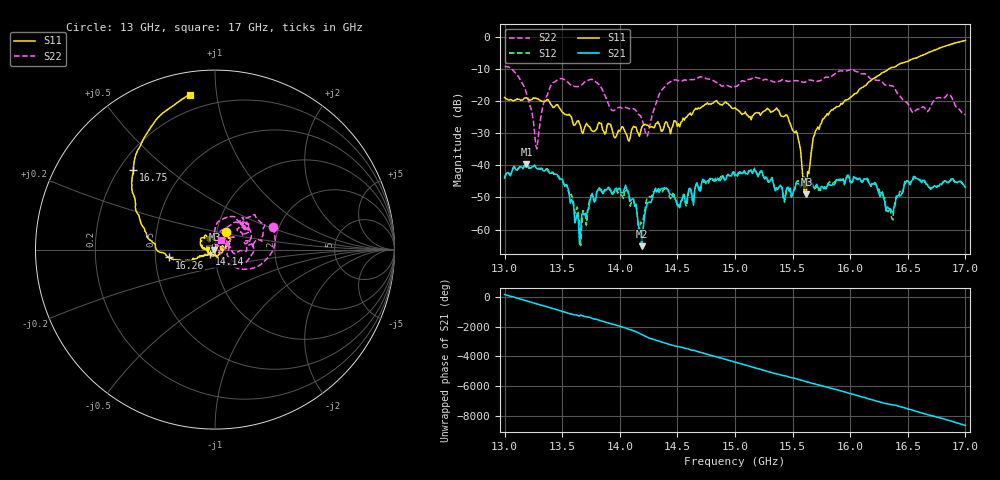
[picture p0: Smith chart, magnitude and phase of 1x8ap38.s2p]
!Keysight Technologies,P9374A,MY57211807,A.19.30.04
!Date: Friday, May 08, 2026 14:36:41
!Correction: S11(C  2-Port  )
!S21(C  2-Port  )
!S12(C  2-Port  )
!S22(C  2-Port  )
!S2P File: Measurements: S11, S21, S12, S22:
# Hz S  dB  R 50
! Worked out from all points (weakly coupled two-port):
!   401 points, 13 GHz to 17 GHz, reference 50 ohm
!   highest |S21| = -39.71 dB at 13.19 GHz (marker M1); lowest = -65.2 dB at 14.19 GHz (marker M2)
!   lowest |S11| = -49.0 dB at 15.62 GHz (marker M3), VSWR 1.01, Z = 49.7 - j0.107 ohm
!   |S11| at or under -10 dB: start of sweep to 16.34 GHz
!   |S22| runs from -34.9 to -9.2 dB; largest |S21 - S12| = 0.00097
!   S11 on the Smith chart (normalised r, x): 13 GHz: 1.11, +0.22; 14.14 GHz: 0.94, -0.05; 16.26 GHz: 0.59, -0.06; 16.75 GHz: 0.26, +0.38; 17 GHz: 0.11, +0.84
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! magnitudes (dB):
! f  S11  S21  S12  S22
! 13 GHz  -18.8  -43.9  -44.1  -9.2
! 13.19 GHz  -19.0  -39.7  -39.5  -17.6
! 13.28 GHz  -19.3  -41.1  -40.9  -34.9
! 13.42 GHz  -22.0  -42.1  -42.4  -14.3
! 13.67 GHz  -29.7  -55.3  -58.7  -15.0
! 13.82 GHz  -26.7  -47.2  -47.0  -14.9
! 14.14 GHz  -28.1  -52.6  -51.6  -22.9
! 14.19 GHz  -28.2  -65.2  -57.9  -25.4
! 14.24 GHz  -27.5  -51.7  -50.2  -30.8
! 14.34 GHz  -27.1  -48.5  -47.3  -18.1
! 14.51 GHz  -27.1  -52.2  -52.8  -13.7
! 15 GHz  -22.1  -42.8  -43.3  -15.5
! 15.45 GHz  -24.4  -47.0  -47.1  -13.8
! 15.55 GHz  -31.9  -45.7  -44.9  -13.8
! 15.62 GHz  -49.0  -45.8  -45.8  -13.9
! 15.67 GHz  -33.7  -45.6  -45.9  -13.6
! 15.78 GHz  -24.9  -47.2  -46.7  -12.7
! 16.26 GHz  -11.7  -49.8  -48.6  -13.6
! 16.34 GHz  -9.9  -53.7  -53.3  -15.1
! 16.49 GHz  -7.8  -44.8  -44.6  -20.4
! 16.75 GHz  -4.0  -46.8  -46.8  -19.1
! 17 GHz  -1.2  -46.8  -46.9  -24.3
